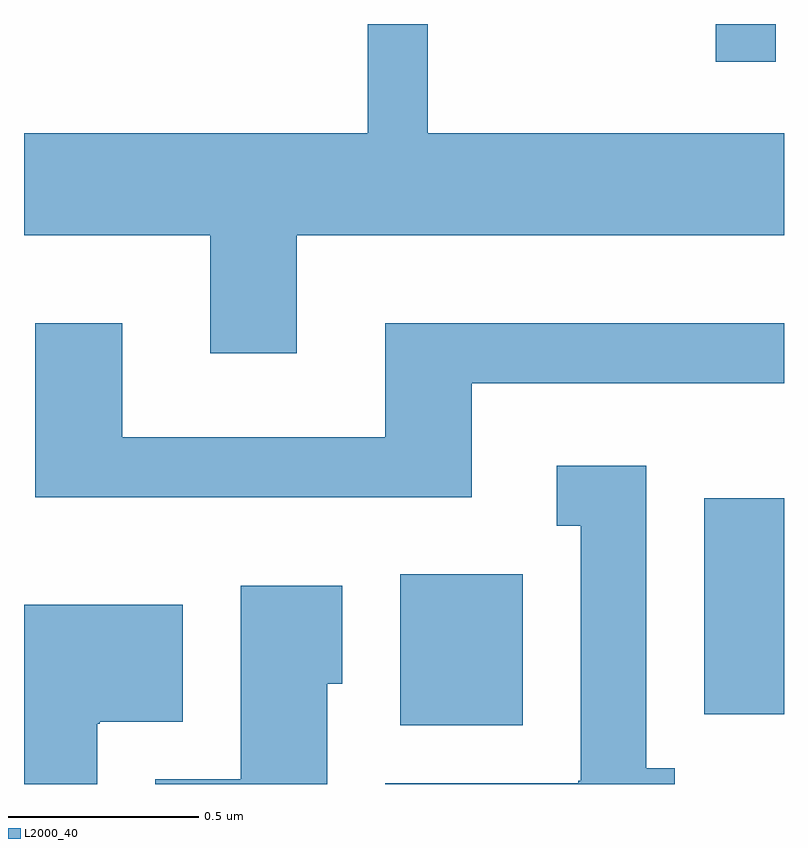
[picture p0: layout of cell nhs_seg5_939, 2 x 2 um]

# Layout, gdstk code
import gdstk
lib = gdstk.Library(unit=1e-6, precision=1e-09)
def R(c, l, rs):  # rectangles x0, y0, x1, y1
    for r in rs: c.add(gdstk.rectangle(r[:2], r[2:], *l))
def P(c, l, *ps):  # polygons
    for p in ps: c.add(gdstk.Polygon(p, *l))
L2000_40 = (2000, 40)

nhs_seg5_939 = lib.new_cell('nhs_seg5_939')
R(nhs_seg5_939, L2000_40, [(192.601,1513.226,192.924,1513.624), (193.401,1513.256,193.611,1513.824), (193.431,1514.973,193.589,1515.072)])
P(nhs_seg5_939, L2000_40, [(192.329,1514.516),(193.611,1514.516),(193.611,1514.784),(192.674,1514.784),(192.674,1515.072),(192.516,1515.072),(192.516,1514.784),(191.611,1514.784),(191.611,1514.516),(192.101,1514.516),(192.101,1514.206),(192.329,1514.206)],
  [(192.789,1514.126),(193.611,1514.126),(193.611,1514.284),(192.561,1514.284),(192.561,1513.984),(191.869,1513.984),(191.869,1514.284),(191.641,1514.284),(191.641,1513.826),(192.789,1513.826)],
  [(193.324,1513.114),(193.249,1513.114),(193.249,1513.909),(193.013,1513.909),(193.013,1513.751),(193.076,1513.751),(193.076,1513.08),(193.07,1513.08),(193.07,1513.074),(192.561,1513.074),(192.561,1513.072),(193.324,1513.072)],
  [(192.409,1513.336),(192.449,1513.336),(192.449,1513.594),(192.181,1513.594),(192.181,1513.084),(191.956,1513.084),(191.956,1513.072),(192.409,1513.072)],
  [(191.804,1513.23),(191.81,1513.23),(191.81,1513.236),(192.029,1513.236),(192.029,1513.544),(191.611,1513.544),(191.611,1513.072),(191.804,1513.072)])

lib.write_gds('nhs_seg5_939.gds')
